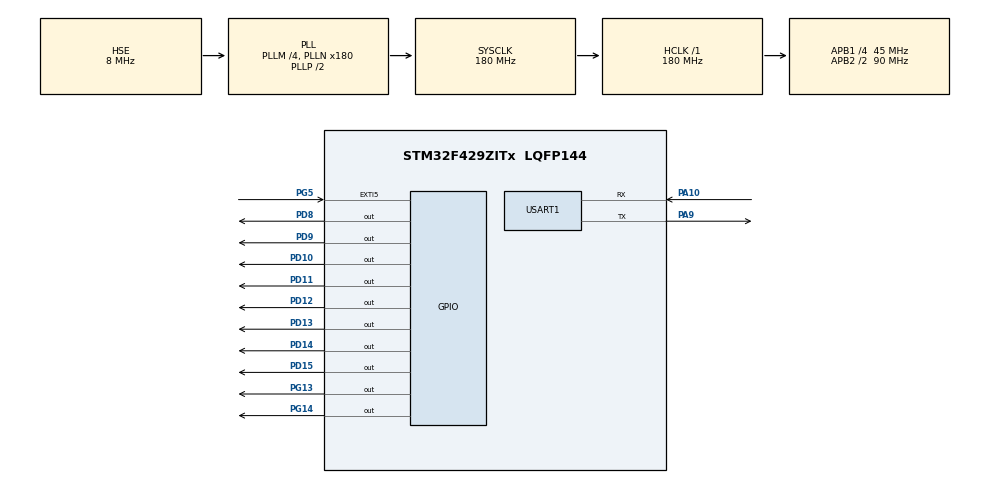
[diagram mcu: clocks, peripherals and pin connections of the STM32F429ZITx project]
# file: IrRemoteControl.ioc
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Mcu.Family=STM32F4
Mcu.Name=STM32F429ZITx
Mcu.Package=LQFP144
NVIC.EXTI9_5_IRQn=true\:0\:0\:false\:false\:true\:true\:true\:true
NVIC.PriorityGroup=NVIC_PRIORITYGROUP_4
NVIC.TIM6_DAC_IRQn=true\:0\:0\:false\:false\:true\:true\:true\:true
PA10.Mode=Asynchronous
PA10.Signal=USART1_RX
PA9.Mode=Asynchronous
PA9.Signal=USART1_TX
PD10.Signal=GPIO_Output
PD11.Signal=GPIO_Output
PD12.Signal=GPIO_Output
PD13.Signal=GPIO_Output
PD14.Signal=GPIO_Output
PD15.Signal=GPIO_Output
PD8.Signal=GPIO_Output
PD9.Signal=GPIO_Output
PG13.Signal=GPIO_Output
PG14.Signal=GPIO_Output
PG5.GPIO_ModeDefaultEXTI=GPIO_MODE_IT_FALLING
PG5.GPIO_PuPd=GPIO_PULLUP
PG5.Signal=GPXTI5
PH0/OSC_IN.Mode=HSE-External-Oscillator
PH0/OSC_IN.Signal=RCC_OSC_IN
PH1/OSC_OUT.Mode=HSE-External-Oscillator
PH1/OSC_OUT.Signal=RCC_OSC_OUT
ProjectManager.HeapSize=0x200
ProjectManager.StackSize=0x400
ProjectManager.TargetToolchain=STM32CubeIDE
RCC.48MHZClocksFreq_Value=90000000
RCC.AHBFreq_Value=180000000
RCC.APB1CLKDivider=RCC_HCLK_DIV4
RCC.APB1Freq_Value=45000000
RCC.APB1TimFreq_Value=90000000
RCC.APB2CLKDivider=RCC_HCLK_DIV2
RCC.APB2Freq_Value=90000000
RCC.APB2TimFreq_Value=180000000
RCC.CortexFreq_Value=180000000
RCC.HCLKFreq_Value=180000000
RCC.HSE_VALUE=8000000
RCC.HSI_VALUE=16000000
RCC.LSE_VALUE=32768
RCC.PLLM=4
RCC.PLLN=180
RCC.PLLSourceVirtual=RCC_PLLSOURCE_HSE
RCC.SYSCLKFreq_VALUE=180000000
RCC.SYSCLKSource=RCC_SYSCLKSOURCE_PLLCLK
RCC.VCOOutputFreq_Value=360000000
TIM6.Period=99
TIM6.Prescaler=89
USART1.VirtualMode=VM_ASYNC
VP_TIM6_VS_ClockSourceINT.Mode=Enable_Timer
board=custom

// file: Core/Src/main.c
/* USER CODE BEGIN Header */
/**
 ******************************************************************************
 * @file           : main.c
 * @brief          : Main program body
 ******************************************************************************
 * @attention
 *
 * Copyright (c) 2025 STMicroelectronics.
 * All rights reserved.
 *
 * This software is licensed under terms that can be found in the LICENSE file
 * in the root directory of this software component.
 * If no LICENSE file comes with this software, it is provided AS-IS.
 *
 ******************************************************************************
 */
/* USER CODE END Header */
#include "main.h"

/* USER CODE BEGIN Includes */
#include "irda.h"
#include "stdio.h"
#include "string.h"
/* USER CODE END Includes */

/* USER CODE BEGIN PTD */
unsigned char LED_Value = 0x01;
unsigned int timerCount = 0;
unsigned char direction = 0;
/* USER CODE END PTD */

TIM_HandleTypeDef htim6;

UART_HandleTypeDef huart1;

/* USER CODE BEGIN PV */
int tim6_count;
int LED_value = 0x01;
/* USER CODE END PV */

void SystemClock_Config(void);
static void MX_GPIO_Init(void);
static void MX_TIM6_Init(void);
static void MX_USART1_UART_Init(void);
/* USER CODE BEGIN PFP */
void mode4()
{
  LED_Value = (LED_Value << 1) | (LED_Value >> 3);
  if (LED_Value & 0x08)
  {
    HAL_GPIO_WritePin(GPIOD, GPIO_PIN_11 | GPIO_PIN_12, GPIO_PIN_SET);
  }
  else
  {
    HAL_GPIO_WritePin(GPIOD, GPIO_PIN_11 | GPIO_PIN_12, GPIO_PIN_RESET);
  }
  if (LED_Value & 0x04)
  {
    HAL_GPIO_WritePin(GPIOD, GPIO_PIN_10 | GPIO_PIN_13, GPIO_PIN_SET);
  }
  else
  {
    HAL_GPIO_WritePin(GPIOD, GPIO_PIN_10 | GPIO_PIN_13, GPIO_PIN_RESET);
  }
  if (LED_Value & 0x02)
  {
    HAL_GPIO_WritePin(GPIOD, GPIO_PIN_9 | GPIO_PIN_14, GPIO_PIN_SET);
  }
  else
  {
    HAL_GPIO_WritePin(GPIOD, GPIO_PIN_9 | GPIO_PIN_14, GPIO_PIN_RESET);
  }
  if (LED_Value & 0x01)
  {
    HAL_GPIO_WritePin(GPIOD, GPIO_PIN_8 | GPIO_PIN_15, GPIO_PIN_SET);
  }
  else
  {
    HAL_GPIO_WritePin(GPIOD, GPIO_PIN_8 | GPIO_PIN_15, GPIO_PIN_RESET);
  }
}

void mode1()
{
  LED_Value = (LED_Value >> 1) | (LED_Value << 7);
  if (LED_Value & 0x01)
  {
    HAL_GPIO_WritePin(GPIOD, GPIO_PIN_15, GPIO_PIN_SET);
  }
  else
  {
    HAL_GPIO_WritePin(GPIOD, GPIO_PIN_15, GPIO_PIN_RESET);
  }
  if (LED_Value & 0x02)
  {
    HAL_GPIO_WritePin(GPIOD, GPIO_PIN_14, GPIO_PIN_SET);
  }
  else
  {
    HAL_GPIO_WritePin(GPIOD, GPIO_PIN_14, GPIO_PIN_RESET);
  }
  if (LED_Value & 0x04)
  {
    HAL_GPIO_WritePin(GPIOD, GPIO_PIN_13, GPIO_PIN_SET);
  }
  else
  {
    HAL_GPIO_WritePin(GPIOD, GPIO_PIN_13, GPIO_PIN_RESET);
  }
  if (LED_Value & 0x08)
  {
    HAL_GPIO_WritePin(GPIOD, GPIO_PIN_12, GPIO_PIN_SET);
  }
  else
  {
    HAL_GPIO_WritePin(GPIOD, GPIO_PIN_12, GPIO_PIN_RESET);
  }
  if (LED_Value & 0x10)
  {
    HAL_GPIO_WritePin(GPIOD, GPIO_PIN_11, GPIO_PIN_SET);
  }
  else
  {
    HAL_GPIO_WritePin(GPIOD, GPIO_PIN_11, GPIO_PIN_RESET);
  }
  if (LED_Value & 0x20)
  {
    HAL_GPIO_WritePin(GPIOD, GPIO_PIN_10, GPIO_PIN_SET);
  }
  else
  {
    HAL_GPIO_WritePin(GPIOD, GPIO_PIN_10, GPIO_PIN_RESET);
  }
  if (LED_Value & 0x40)
  {
    HAL_GPIO_WritePin(GPIOD, GPIO_PIN_9, GPIO_PIN_SET);
  }
  else
  {
    HAL_GPIO_WritePin(GPIOD, GPIO_PIN_9, GPIO_PIN_RESET);
  }
  if (LED_Value & 0x80)
  {
    HAL_GPIO_WritePin(GPIOD, GPIO_PIN_8, GPIO_PIN_SET);
  }
  else
  {
    HAL_GPIO_WritePin(GPIOD, GPIO_PIN_8, GPIO_PIN_RESET);
  }
}

void mode2()
{
  LED_Value = (LED_Value >> 1) | (LED_Value << 7);
  if (LED_Value & 0x80)
  {
    HAL_GPIO_WritePin(GPIOD, GPIO_PIN_8, GPIO_PIN_SET);
  }
  else
  {
    HAL_GPIO_WritePin(GPIOD, GPIO_PIN_8, GPIO_PIN_RESET);
  }
  if (LED_Value & 0x40)
  {
    HAL_GPIO_WritePin(GPIOD, GPIO_PIN_9, GPIO_PIN_SET);
  }
  else
  {
    HAL_GPIO_WritePin(GPIOD, GPIO_PIN_9, GPIO_PIN_RESET);
  }
  if (LED_Value & 0x20)
  {
    HAL_GPIO_WritePin(GPIOD, GPIO_PIN_10, GPIO_PIN_SET);
  }
  else
  {
    HAL_GPIO_WritePin(GPIOD, GPIO_PIN_10, GPIO_PIN_RESET);
  }
  if (LED_Value & 0x10)
  {
    HAL_GPIO_WritePin(GPIOD, GPIO_PIN_11, GPIO_PIN_SET);
  }
  else
  {
    HAL_GPIO_WritePin(GPIOD, GPIO_PIN_11, GPIO_PIN_RESET);
  }
  if (LED_Value & 0x08)
  {
    HAL_GPIO_WritePin(GPIOD, GPIO_PIN_12, GPIO_PIN_SET);
  }
  else
  {
    HAL_GPIO_WritePin(GPIOD, GPIO_PIN_12, GPIO_PIN_RESET);
  }
  if (LED_Value & 0x04)
  {
    HAL_GPIO_WritePin(GPIOD, GPIO_PIN_13, GPIO_PIN_SET);
  }
  else
  {
    HAL_GPIO_WritePin(GPIOD, GPIO_PIN_13, GPIO_PIN_RESET);
  }
  if (LED_Value & 0x02)
  {
    HAL_GPIO_WritePin(GPIOD, GPIO_PIN_14, GPIO_PIN_SET);
  }
  else
  {
    HAL_GPIO_WritePin(GPIOD, GPIO_PIN_14, GPIO_PIN_RESET);
  }
  if (LED_Value & 0x01)
  {
    HAL_GPIO_WritePin(GPIOD, GPIO_PIN_15, GPIO_PIN_SET);
  }
  else
  {
    HAL_GPIO_WritePin(GPIOD, GPIO_PIN_15, GPIO_PIN_RESET);
  }
}

void mode3()
{

  HAL_GPIO_WritePin(GPIOD, GPIO_PIN_8 | GPIO_PIN_9 | GPIO_PIN_10 | GPIO_PIN_11 | GPIO_PIN_12 | GPIO_PIN_13 | GPIO_PIN_14 | GPIO_PIN_15, GPIO_PIN_SET);
  HAL_Delay(500);
  HAL_GPIO_WritePin(GPIOD, GPIO_PIN_8 | GPIO_PIN_9 | GPIO_PIN_10 | GPIO_PIN_11 | GPIO_PIN_12 | GPIO_PIN_13 | GPIO_PIN_14 | GPIO_PIN_15, GPIO_PIN_RESET);
  HAL_Delay(500);
}
/* USER CODE END PFP */

/* USER CODE BEGIN 0 */
extern int command_ok;
extern unsigned char irda_cmd[4];
/* USER CODE END 0 */

int main(void)
{

  /* MCU Configuration--------------------------------------------------------*/

  /* Reset of all peripherals, Initializes the Flash interface and the Systick. */
  HAL_Init();

  /* Configure the system clock */
  SystemClock_Config();

  /* Initialize all configured peripherals */
  MX_GPIO_Init();
  MX_TIM6_Init();
  MX_USART1_UART_Init();
  /* USER CODE BEGIN 2 */
  HAL_TIM_Base_Start_IT(&htim6);
  command_ok = 0;
  tim6_count = 0;
  /* USER CODE END 2 */

  /* Infinite loop */
  /* USER CODE BEGIN WHILE */
  while (1)
  {
    // turn off 2 LEDs
    HAL_GPIO_TogglePin(GPIOG, GPIO_PIN_13);
    // delay
    HAL_Delay(5);
    if (timerCount + 500 < HAL_GetTick())
    {
      switch (direction)
      {
      case 0x44:
        mode4();
        break;
      case 0x45:
        mode1();
        break;
      case 0x46:
        mode2();
        break;
      case 0x47:
        mode3();
        break;
      default:
        mode1();
        break;
      }
      timerCount = HAL_GetTick();
    }

    if (command_ok)
    {
      char buf[256];
      // Decode IR command
      IrDecode();

      // Print decoded command to UART for debugging
      sprintf(buf, "Direction: %02x\n", irda_cmd[2]);
      HAL_UART_Transmit(&huart1, (const uint8_t *)buf, strlen(buf), 2);

      // Set direction based on decoded IR command
      // The direction is stored in the third byte of the IR command
      if (irda_cmd[2] != direction)
      {
        direction = irda_cmd[2];
        timerCount = HAL_GetTick();
        LED_Value = 0x01;
      }

      // Reset command flag
      command_ok = 0;
    }
    /* USER CODE END WHILE */

  }
}

void SystemClock_Config(void)
{
  RCC_OscInitTypeDef RCC_OscInitStruct = {0};
  RCC_ClkInitTypeDef RCC_ClkInitStruct = {0};

  /** Configure the main internal regulator output voltage
   */
  __HAL_RCC_PWR_CLK_ENABLE();
  __HAL_PWR_VOLTAGESCALING_CONFIG(PWR_REGULATOR_VOLTAGE_SCALE1);

  /** Initializes the RCC Oscillators according to the specified parameters
   * in the RCC_OscInitTypeDef structure.
   */
  RCC_OscInitStruct.OscillatorType = RCC_OSCILLATORTYPE_HSE;
  RCC_OscInitStruct.HSEState = RCC_HSE_ON;
  RCC_OscInitStruct.PLL.PLLState = RCC_PLL_ON;
  RCC_OscInitStruct.PLL.PLLSource = RCC_PLLSOURCE_HSE;
  RCC_OscInitStruct.PLL.PLLM = 4;
  RCC_OscInitStruct.PLL.PLLN = 180;
  RCC_OscInitStruct.PLL.PLLP = RCC_PLLP_DIV2;
  RCC_OscInitStruct.PLL.PLLQ = 4;
  if (HAL_RCC_OscConfig(&RCC_OscInitStruct) != HAL_OK)
  {
    Error_Handler();
  }

  /** Activate the Over-Drive mode
   */
  if (HAL_PWREx_EnableOverDrive() != HAL_OK)
  {
    Error_Handler();
  }

  /** Initializes the CPU, AHB and APB buses clocks
   */
  RCC_ClkInitStruct.ClockType = RCC_CLOCKTYPE_HCLK | RCC_CLOCKTYPE_SYSCLK | RCC_CLOCKTYPE_PCLK1 | RCC_CLOCKTYPE_PCLK2;
  RCC_ClkInitStruct.SYSCLKSource = RCC_SYSCLKSOURCE_PLLCLK;
  RCC_ClkInitStruct.AHBCLKDivider = RCC_SYSCLK_DIV1;
  RCC_ClkInitStruct.APB1CLKDivider = RCC_HCLK_DIV4;
  RCC_ClkInitStruct.APB2CLKDivider = RCC_HCLK_DIV2;

  if (HAL_RCC_ClockConfig(&RCC_ClkInitStruct, FLASH_LATENCY_5) != HAL_OK)
  {
    Error_Handler();
  }
}

static void MX_TIM6_Init(void)
{

  TIM_MasterConfigTypeDef sMasterConfig = {0};

  htim6.Instance = TIM6;
  htim6.Init.Prescaler = 89;
  htim6.Init.CounterMode = TIM_COUNTERMODE_UP;
  htim6.Init.Period = 99;
  htim6.Init.AutoReloadPreload = TIM_AUTORELOAD_PRELOAD_DISABLE;
  if (HAL_TIM_Base_Init(&htim6) != HAL_OK)
  {
    Error_Handler();
  }
  sMasterConfig.MasterOutputTrigger = TIM_TRGO_RESET;
  sMasterConfig.MasterSlaveMode = TIM_MASTERSLAVEMODE_DISABLE;
  if (HAL_TIMEx_MasterConfigSynchronization(&htim6, &sMasterConfig) != HAL_OK)
  {
    Error_Handler();
  }
}

static void MX_USART1_UART_Init(void)
{

  huart1.Instance = USART1;
  huart1.Init.BaudRate = 115200;
  huart1.Init.WordLength = UART_WORDLENGTH_8B;
  huart1.Init.StopBits = UART_STOPBITS_1;
  huart1.Init.Parity = UART_PARITY_NONE;
  huart1.Init.Mode = UART_MODE_TX_RX;
  huart1.Init.HwFlowCtl = UART_HWCONTROL_NONE;
  huart1.Init.OverSampling = UART_OVERSAMPLING_16;
  if (HAL_UART_Init(&huart1) != HAL_OK)
  {
    Error_Handler();
  }
}

static void MX_GPIO_Init(void)
{
  GPIO_InitTypeDef GPIO_InitStruct = {0};

  /* GPIO Ports Clock Enable */
  __HAL_RCC_GPIOH_CLK_ENABLE();
  __HAL_RCC_GPIOD_CLK_ENABLE();
  __HAL_RCC_GPIOG_CLK_ENABLE();
  __HAL_RCC_GPIOA_CLK_ENABLE();

  /*Configure GPIO pin Output Level */
  HAL_GPIO_WritePin(GPIOD, GPIO_PIN_8 | GPIO_PIN_9 | GPIO_PIN_10 | GPIO_PIN_11 | GPIO_PIN_12 | GPIO_PIN_13 | GPIO_PIN_14 | GPIO_PIN_15, GPIO_PIN_RESET);

  /*Configure GPIO pin Output Level */
  HAL_GPIO_WritePin(GPIOG, GPIO_PIN_13 | GPIO_PIN_14, GPIO_PIN_RESET);

  /*Configure GPIO pins : PD8 PD9 PD10 PD11
                           PD12 PD13 PD14 PD15 */
  GPIO_InitStruct.Pin = GPIO_PIN_8 | GPIO_PIN_9 | GPIO_PIN_10 | GPIO_PIN_11 | GPIO_PIN_12 | GPIO_PIN_13 | GPIO_PIN_14 | GPIO_PIN_15;
  GPIO_InitStruct.Mode = GPIO_MODE_OUTPUT_PP;
  GPIO_InitStruct.Pull = GPIO_NOPULL;
  GPIO_InitStruct.Speed = GPIO_SPEED_FREQ_LOW;
  HAL_GPIO_Init(GPIOD, &GPIO_InitStruct);

  /*Configure GPIO pin : PG5 */
  GPIO_InitStruct.Pin = GPIO_PIN_5;
  GPIO_InitStruct.Mode = GPIO_MODE_IT_FALLING;
  GPIO_InitStruct.Pull = GPIO_PULLUP;
  HAL_GPIO_Init(GPIOG, &GPIO_InitStruct);

  /*Configure GPIO pins : PG13 PG14 */
  GPIO_InitStruct.Pin = GPIO_PIN_13 | GPIO_PIN_14;
  GPIO_InitStruct.Mode = GPIO_MODE_OUTPUT_PP;
  GPIO_InitStruct.Pull = GPIO_NOPULL;
  GPIO_InitStruct.Speed = GPIO_SPEED_FREQ_LOW;
  HAL_GPIO_Init(GPIOG, &GPIO_InitStruct);

  /* EXTI interrupt init*/
  HAL_NVIC_SetPriority(EXTI9_5_IRQn, 0, 0);
  HAL_NVIC_EnableIRQ(EXTI9_5_IRQn);

}

void Error_Handler(void)
{
  __disable_irq();
  while (1)
  {
  }
}
